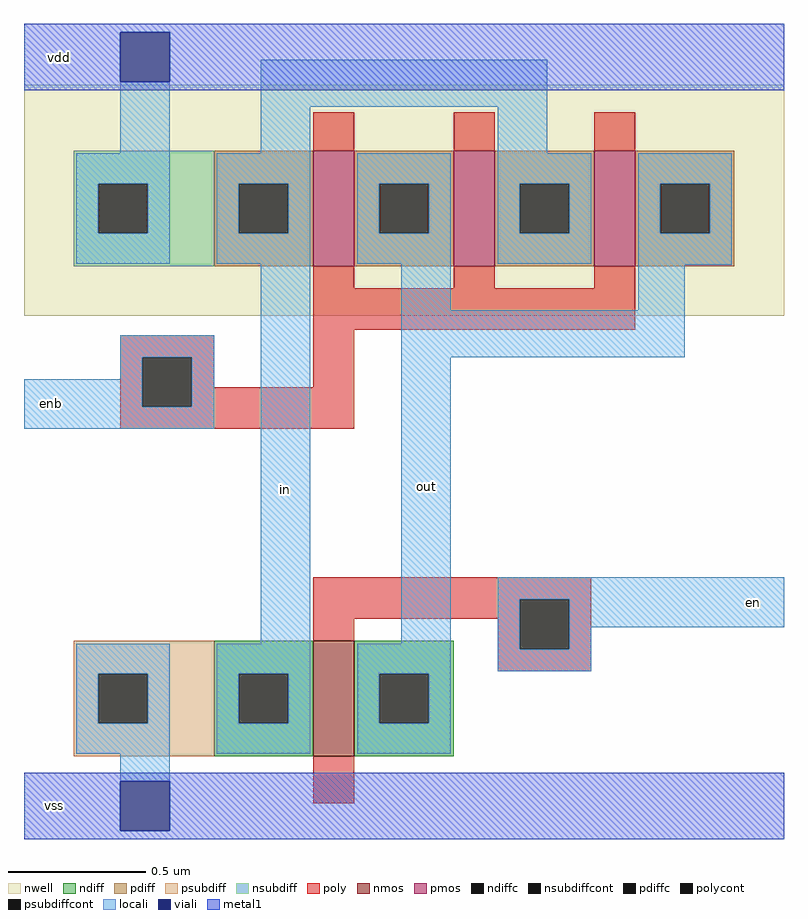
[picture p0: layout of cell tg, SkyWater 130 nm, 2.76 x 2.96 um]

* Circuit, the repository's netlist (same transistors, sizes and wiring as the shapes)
.subckt tg in out en enb vdd vss
xmp in enb out vdd sky130_fd_pr__pfet_01v8 l=0.15 w=1.26 as=0.302 ad=0.302 ps=3.12 pd=3.12
xmn in en  out vss sky130_fd_pr__nfet_01v8 l=0.15 w=0.42 as=0.151 ad=0.151 ps=1.52 pd=1.52
.ends

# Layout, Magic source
magic
tech sky130A
magscale 1 2
<< nwell >>
rect -210 328 342 496
<< nmos >>
rect 0 8 30 92
<< pmos >>
rect 0 364 30 448
rect 102 364 132 448
rect 204 364 234 448
<< ndiff >>
rect -72 68 0 92
rect -72 32 -54 68
rect -18 32 0 68
rect -72 8 0 32
rect 30 68 102 92
rect 30 32 48 68
rect 84 32 102 68
rect 30 8 102 32
<< pdiff >>
rect -72 424 0 448
rect -72 388 -54 424
rect -18 388 0 424
rect -72 364 0 388
rect 30 424 102 448
rect 30 388 48 424
rect 84 388 102 424
rect 30 364 102 388
rect 132 424 204 448
rect 132 388 150 424
rect 186 388 204 424
rect 132 364 204 388
rect 234 424 306 448
rect 234 388 252 424
rect 288 388 306 424
rect 234 364 306 388
<< ndiffc >>
rect -54 32 -18 68
rect 48 32 84 68
<< pdiffc >>
rect -54 388 -18 424
rect 48 388 84 424
rect 150 388 186 424
rect 252 388 288 424
<< psubdiff >>
rect -174 68 -72 92
rect -174 32 -156 68
rect -120 32 -72 68
rect -174 8 -72 32
<< nsubdiff >>
rect -174 424 -72 448
rect -174 388 -156 424
rect -120 388 -72 424
rect -174 364 -72 388
<< psubdiffcont >>
rect -156 32 -120 68
<< nsubdiffcont >>
rect -156 388 -120 424
<< poly >>
rect 0 448 30 476
rect 102 448 132 476
rect 204 448 234 476
rect 0 348 30 364
rect 102 348 132 364
rect 204 348 234 364
rect 0 318 234 348
rect -140 298 -72 314
rect -140 262 -124 298
rect -88 276 -72 298
rect 0 276 30 318
rect -88 262 30 276
rect -140 246 30 262
rect 0 122 202 138
rect 0 108 150 122
rect 0 92 30 108
rect 134 86 150 108
rect 186 86 202 122
rect 134 70 202 86
rect 0 -26 30 8
<< polycont >>
rect -124 262 -88 298
rect 150 86 186 122
<< locali >>
rect -140 446 -104 498
rect -38 480 170 514
rect -38 446 -2 480
rect 134 446 170 480
rect -172 424 -104 446
rect -172 388 -156 424
rect -120 388 -104 424
rect -172 366 -104 388
rect -70 424 -2 446
rect -70 388 -54 424
rect -18 388 -2 424
rect -70 366 -2 388
rect 32 424 100 446
rect 32 388 48 424
rect 84 388 100 424
rect 32 366 100 388
rect 134 424 202 446
rect 134 388 150 424
rect 186 388 202 424
rect 134 366 202 388
rect 236 424 304 446
rect 236 388 252 424
rect 288 388 304 424
rect -140 298 -72 314
rect -140 282 -124 298
rect -210 262 -124 282
rect -88 262 -72 298
rect -210 246 -72 262
rect -38 90 -2 366
rect 64 332 100 366
rect 236 365 304 388
rect 236 332 270 365
rect 64 298 270 332
rect 64 90 100 298
rect -172 68 -104 90
rect -172 32 -156 68
rect -120 32 -104 68
rect -172 10 -104 32
rect -70 68 -2 90
rect -70 32 -54 68
rect -18 32 -2 68
rect -70 10 -2 32
rect 32 68 100 90
rect 134 122 342 138
rect 134 86 150 122
rect 186 102 342 122
rect 186 86 202 102
rect 134 70 202 86
rect 32 32 48 68
rect 84 32 100 68
rect 32 10 100 32
rect -140 -10 -104 10
<< viali >>
rect -140 498 -104 534
rect -140 -46 -104 -10
<< metal1 >>
rect -210 534 342 540
rect -210 498 -140 534
rect -104 498 342 534
rect -210 492 342 498
rect -210 -10 342 -4
rect -210 -46 -140 -10
rect -104 -46 342 -10
rect -210 -52 342 -46
<< labels >>
rlabel locali -20 202 -20 202 1 in
port 1 n
rlabel locali 82 204 82 204 1 out
port 2 n
rlabel locali 320 120 320 120 1 en
port 3 n
rlabel locali -190 264 -190 264 1 enb
port 4 n
rlabel metal1 -184 516 -184 516 1 vdd
port 5 n
rlabel metal1 -188 -28 -188 -28 1 vss
port 6 n
<< end >>
